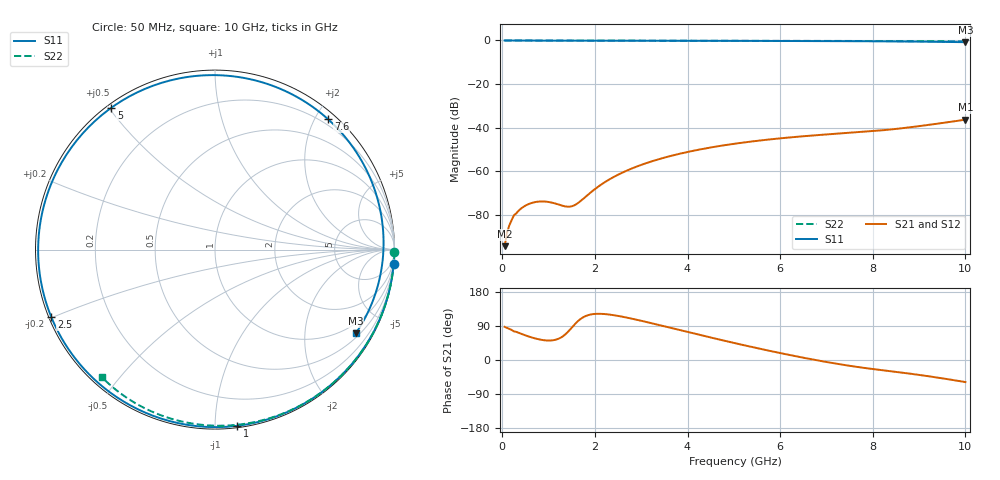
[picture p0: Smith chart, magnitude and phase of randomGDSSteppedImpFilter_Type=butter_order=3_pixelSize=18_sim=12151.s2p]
! freq	dB(S11)	phase(S11)	dB(S12)	phase(S12)
!  dB(S21)	phase(S21)	dB(S22)	phase(S22)
!S-par simulation data
#  GHz  S  DB  R 50
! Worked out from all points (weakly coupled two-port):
!   200 points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, 50 MHz to 10 GHz, reference 50 ohm
!   highest |S21| = -36.31 dB at 10 GHz (marker M1); lowest = -94.3 dB at 50 MHz (marker M2)
!   lowest |S11| = -0.8 dB at 10 GHz (marker M3), VSWR 21.86, Z = 31.8 - j177 ohm
!   |S11| at or under -10 dB: nowhere
!   |S22| runs from -0.4 to 0.0 dB; largest |S21 - S12| = 0
!   S11 on the Smith chart (normalised r, x): 50 MHz: 0, -25; 1 GHz: 0.01, -1.13; 2.5 GHz: 0.01, -0.20; 5 GHz: 0.01, +0.51; 7.6 GHz: 0.11, +2.19; 10 GHz: 0.64, -3.54
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0.05  -0.01 -4.7  -94.33 87.4  -94.33 87.4  -0.00 -0.8
0.25  -0.03 -22.9  -80.21 75.6  -80.21 75.6  -0.00 -3.8
0.55  -0.06 -48.8  -75.20 62.9  -75.20 62.9  -0.01 -8.3
0.75  -0.08 -64.7  -73.98 55.7  -73.98 55.7  -0.01 -11.3
1  -0.09 -82.8  -74.07 51.4  -74.07 51.4  -0.02 -15.1
1.45  -0.10 -110.5  -76.23 78.5  -76.23 78.5  -0.03 -21.8
1.6  -0.11 -118.5  -75.07 98.7  -75.07 98.7  -0.03 -24.0
1.75  -0.11 -126.0  -72.58 113.0  -72.58 113.0  -0.03 -26.2
2.1  -0.11 -141.9  -66.60 121.9  -66.60 121.9  -0.04 -31.4
2.5  -0.12 -157.7  -61.56 116.3  -61.56 116.3  -0.05 -37.2
2.95  -0.12 -173.4  -57.45 104.9  -57.45 104.9  -0.06 -43.6
3.4  -0.13 172.2  -54.33 91.9  -54.33 91.9  -0.07 -50.0
4.15  -0.15 150.1  -50.48 69.6  -50.48 69.6  -0.08 -60.3
5  -0.19 126.1  -47.40 45.1  -47.40 45.1  -0.11 -71.6
5.05  -0.19 124.7  -47.25 43.7  -47.25 43.7  -0.11 -72.3
5.9  -0.23 100.5  -45.10 20.9  -45.10 20.9  -0.14 -83.2
6.7  -0.27 76.9  -43.58 1.4  -43.58 1.4  -0.18 -93.2
7.6  -0.34 49.0  -42.21 -17.2  -42.21 -17.2  -0.23 -104.0
8.35  -0.43 24.7  -40.91 -29.2  -40.91 -29.2  -0.29 -112.8
9.15  -0.56 -2.0  -38.87 -41.9  -38.87 -41.9  -0.36 -122.0
9.55  -0.66 -15.5  -37.71 -49.3  -37.71 -49.3  -0.40 -126.5
10  -0.80 -30.7  -36.31 -58.2  -36.31 -58.2  -0.45 -131.6
